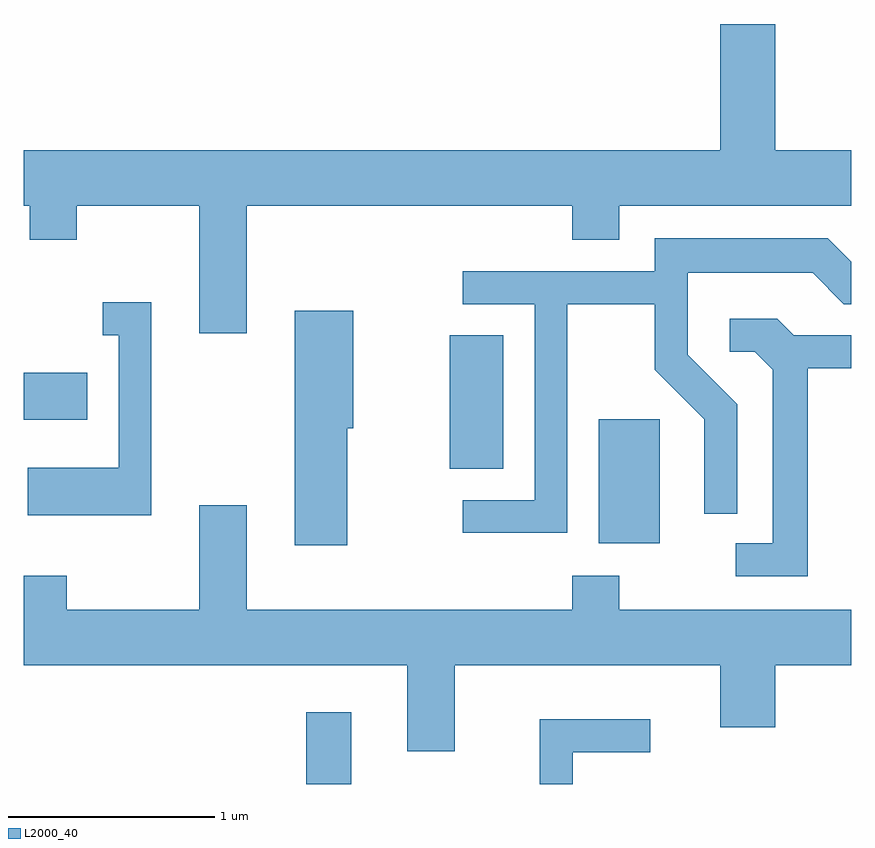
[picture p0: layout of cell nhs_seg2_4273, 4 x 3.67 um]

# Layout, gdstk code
import gdstk
lib = gdstk.Library(unit=1e-6, precision=1e-09)
def R(c, l, rs):  # rectangles x0, y0, x1, y1
    for r in rs: c.add(gdstk.rectangle(r[:2], r[2:], *l))
def P(c, l, *ps):  # polygons
    for p in ps: c.add(gdstk.Polygon(p, *l))
L2000_40 = (2000, 40)

nhs_seg2_4273 = lib.new_cell('nhs_seg2_4273')
R(nhs_seg2_4273, L2000_40, [(312.976,987.802,313.194,988.149), (314.391,988.966,314.684,989.564), (313.671,989.326,313.929,989.969), (311.611,989.561,311.919,989.789)])
P(nhs_seg2_4273, L2000_40, [(312.689,990.596),(314.261,990.596),(314.261,990.431),(314.489,990.431),(314.489,990.596),(315.611,990.596),(315.611,990.864),(315.244,990.864),(315.244,991.474),(314.976,991.474),(314.976,990.864),(311.611,990.864),(311.611,990.596),(311.641,990.596),(311.641,990.431),(311.869,990.431),(311.869,990.596),(312.461,990.596),(312.461,989.981),(312.689,989.981)],
  [(314.239,990.121),(314.661,990.121),(314.661,989.804),(314.901,989.564),(314.901,989.108),(315.059,989.108),(315.059,989.637),(314.819,989.877),(314.819,990.271),(315.424,990.271),(315.574,990.121),(315.611,990.121),(315.611,990.325),(315.497,990.439),(314.661,990.439),(314.661,990.279),(313.733,990.279),(313.733,990.121),(314.081,990.121),(314.081,989.174),(313.733,989.174),(313.733,989.016),(314.239,989.016)],
  [(312.229,990.129),(311.993,990.129),(311.993,989.971),(312.071,989.971),(312.071,989.329),(311.631,989.329),(311.631,989.101),(312.229,989.101)],
  [(313.174,989.521),(313.204,989.521),(313.204,990.089),(312.921,990.089),(312.921,988.956),(313.174,988.956)],
  [(315.399,989.811),(315.611,989.811),(315.611,989.969),(315.332,989.969),(315.252,990.049),(315.023,990.049),(315.023,989.891),(315.144,989.891),(315.231,989.804),(315.231,988.964),(315.053,988.964),(315.053,988.806),(315.399,988.806)],
  [(313.694,988.376),(314.976,988.376),(314.976,988.076),(315.244,988.076),(315.244,988.376),(315.611,988.376),(315.611,988.644),(314.489,988.644),(314.489,988.809),(314.261,988.809),(314.261,988.644),(312.689,988.644),(312.689,989.149),(312.461,989.149),(312.461,988.644),(311.819,988.644),(311.819,988.809),(311.611,988.809),(311.611,988.376),(313.466,988.376),(313.466,987.961),(313.694,987.961)],
  [(314.264,987.956),(314.638,987.956),(314.638,988.114),(314.106,988.114),(314.106,987.802),(314.264,987.802)])

lib.write_gds('nhs_seg2_4273.gds')
